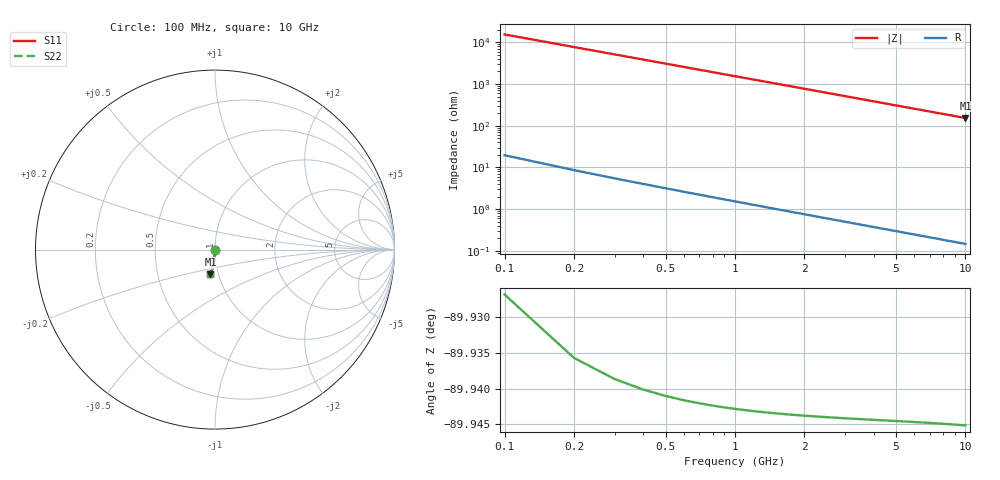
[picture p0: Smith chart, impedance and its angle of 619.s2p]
# Hz S RI R 50.00
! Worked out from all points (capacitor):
!   100 points, 100 MHz to 10 GHz, reference 50 ohm
!   read as one part in shunt: C = 104 fF near 100 MHz
!   lowest |Z| = 153 ohm at 10 GHz (marker M1)
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1e8  9.9e-05 -0.00141  0.9999 -0.00185  0.9999 -0.00185  9.9e-05 -0.00141
2e8  9.03e-05 -0.00282  0.9999 -0.00369  0.9999 -0.00369  9.03e-05 -0.00282
3e8  7.63e-05 -0.00422  0.9999 -0.00554  0.9999 -0.00554  7.63e-05 -0.00422
4e8  5.69e-05 -0.00563  0.9998 -0.00739  0.9998 -0.00739  5.69e-05 -0.00563
5e8  3.23e-05 -0.00704  0.9998 -0.00923  0.9998 -0.00923  3.23e-05 -0.00704
6e8  2.5e-06 -0.00845  0.9998 -0.0111  0.9998 -0.0111  2.5e-06 -0.00845
7e8  -3.26e-05 -0.00985  0.9997 -0.0129  0.9997 -0.0129  -3.26e-05 -0.00985
8e8  -7.29e-05 -0.0113  0.9997 -0.0148  0.9997 -0.0148  -7.29e-05 -0.0113
9e8  -0.000118 -0.0127  0.9997 -0.0166  0.9997 -0.0166  -0.000118 -0.0127
1.1e9  -0.000225 -0.0155  0.9995 -0.0203  0.9995 -0.0203  -0.000225 -0.0155
1.4e9  -0.000424 -0.0197  0.9993 -0.0259  0.9993 -0.0259  -0.000424 -0.0197
1.8e9  -0.000763 -0.0253  0.999 -0.0332  0.999 -0.0332  -0.000763 -0.0253
2.1e9  -0.00107 -0.0295  0.9987 -0.0388  0.9987 -0.0388  -0.00107 -0.0295
2.5e9  -0.00156 -0.0352  0.9982 -0.0461  0.9982 -0.0461  -0.00156 -0.0352
2.9e9  -0.00212 -0.0408  0.9976 -0.0535  0.9976 -0.0535  -0.00212 -0.0408
3.4e9  -0.00295 -0.0478  0.9967 -0.0627  0.9967 -0.0627  -0.00295 -0.0478
4.2e9  -0.00454 -0.0589  0.9951 -0.0774  0.9951 -0.0774  -0.00454 -0.0589
5.1e9  -0.00672 -0.0714  0.9928 -0.0939  0.9928 -0.0939  -0.00672 -0.0714
5.9e9  -0.00901 -0.0825  0.9904 -0.1085  0.9904 -0.1085  -0.00901 -0.0825
6.7e9  -0.0116 -0.0934  0.9877 -0.123  0.9877 -0.123  -0.0116 -0.0934
8.4e9  -0.0182 -0.1164  0.9808 -0.1535  0.9808 -0.1535  -0.0182 -0.1164
1e10  -0.0257 -0.1376  0.973 -0.1818  0.973 -0.1818  -0.0257 -0.1376
